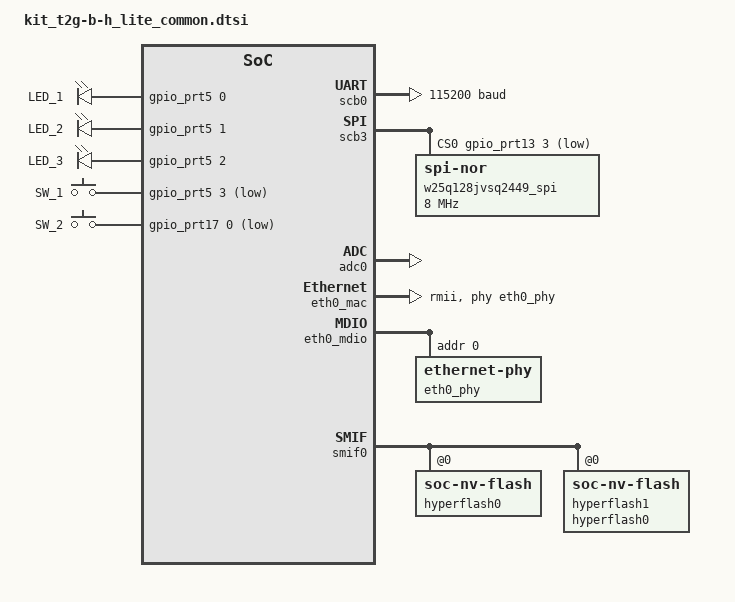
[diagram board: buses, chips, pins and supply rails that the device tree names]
/*
 * Copyright (c) 2026 Infineon Technologies AG
 * SPDX-License-Identifier: Apache-2.0
 */

#include <arm/infineon/cat1c/traveo2-8m/cyt4bf8cds.dtsi>
#include <zephyr/dt-bindings/input/input-event-codes.h>
#include <zephyr/dt-bindings/pinctrl/ifx_cat1-pinctrl.h>
#include <zephyr/dt-bindings/pwm/pwm.h>
#include <arm/infineon/cat1c/traveo2-8m/system_clocks.dtsi>
#include <common/freq.h>
#include <dt-bindings/adc/adc.h>

#include "kit_t2g-b-h_lite_pinctrl.dtsi"

/ {
	aliases {
		uart-0 = &uart0;
		led0 = &user_led1;
		led1 = &user_led2;
		led2 = &user_led3;
		sw0 = &user_bt1;
		sw1 = &user_bt2;
		watchdog0= &watchdog0;
		dma0=&dma0;
		adc0=&adc0;
	};

	leds {
		compatible = "gpio-leds";
		user_led1: user_led1 {
			label = "LED_1";
			gpios = <&gpio_prt5 0 GPIO_ACTIVE_HIGH>;
		};
		user_led2: user_led2 {
			label = "LED_2";
			gpios = <&gpio_prt5 1 GPIO_ACTIVE_HIGH>;
		};
		user_led3: user_led3 {
			label = "LED_3";
			gpios = <&gpio_prt5 2 GPIO_ACTIVE_HIGH>;
		};
	};

	gpio_keys {
		compatible = "gpio-keys";

		user_bt1: user_btn1 {
			label = "SW_1";
			gpios = <&gpio_prt5 3 GPIO_ACTIVE_LOW>;
			zephyr,code = <INPUT_KEY_0>;
		};
		user_bt2: user_btn2 {
			label = "SW_2";
			gpios = <&gpio_prt17 0 GPIO_ACTIVE_LOW>;
			zephyr,code = <INPUT_KEY_1>;
		};
	};

	reserved-memory {
		#address-cells = <1>;
		#size-cells = <1>;
		sram_srom: memory@28000000 {
			reg = <0x28000000 DT_SIZE_K(2)>;
		};
		sram_m0plus: memory@28000800 {
			reg = <0x28000800 DT_SIZE_K(30)>;
		};
		sram_m7_0: memory@28008000 {
			reg = <0x28008000 DT_SIZE_K(224)>;
		};
		sram_m7_1: memory@28040000 {
			reg = <0x28040000 DT_SIZE_K(256)>;
		};
	};
};

&code_flash0 {
	partitions {
		compatible = "fixed-partitions";
		#address-cells = <1>;
		#size-cells = <1>;

		m0p_partition: partition_m0p@0 {
			label = "m0p_partition";
			reg = <0x0 DT_SIZE_K(512)>;
			status = "disabled";
		};
		m7_0_partition: partition@80000 {
			label = "m7_0_partition";
			reg = <0x80000 DT_SIZE_K(2656)>;
		};
		m7_1_partition: partition@318000 {
			label = "m7_1_partition";
			reg = <0x318000 DT_SIZE_K(3168)>;
		};
	};
};

uart0: &scb0 {
	compatible = "infineon,cat1-uart-pdl";
	current-speed = <115200>;
	clocks = <&clk_hf2>;
	ifx,peri-group = <IFX_PERI_GRP_INST_SEL(1, 0)>;
	ifx,peri-clk = <0x011E>;
	ifx,peri-div = <0>; /* 8-bit divider */
	ifx,peri-div-inst = <0>;

	/* UART pins */
	pinctrl-0 = <&p0_0_scb0_uart_rx &p0_1_scb0_uart_tx>;
	pinctrl-names = "default";
};

&pinctrl {
	/omit-if-no-ref/ p12_0_can0_0_tx: p12_0_can0_0_tx {
		pinmux = <DT_CAT1_PINMUX(5, 0, HSIOM_SEL_ACT_13)>;
		drive-push-pull;
	};
	/omit-if-no-ref/ p12_1_can0_0_rx: p12_1_can0_0_rx {
		pinmux = <DT_CAT1_PINMUX(5, 1, HSIOM_SEL_ACT_13)>;
		input-enable;
	};

	/omit-if-no-ref/ p18_0_eth_ref_clk: p18_0_eth_ref_clk {
		pinmux = <DT_CAT1_PINMUX(18, 0, HSIOM_SEL_ACT_12)>;
		input-enable;
	};
	/omit-if-no-ref/ p18_4_eth_txd_0: p18_4_eth_txd_0 {
		pinmux = <DT_CAT1_PINMUX(18, 4, HSIOM_SEL_ACT_12)>;
		drive-push-pull;
	};
	/omit-if-no-ref/ p18_5_eth_txd_1: p18_5_eth_txd_1 {
		pinmux = <DT_CAT1_PINMUX(18, 5, HSIOM_SEL_ACT_12)>;
		drive-push-pull;
	};
	/omit-if-no-ref/ p18_1_eth_tx_en: p18_1_eth_tx_en {
		pinmux = <DT_CAT1_PINMUX(18, 1, HSIOM_SEL_ACT_12)>;
		drive-push-pull;
	};
	/omit-if-no-ref/ p19_0_eth_rxd_0: p19_0_eth_rxd_0 {
		pinmux = <DT_CAT1_PINMUX(19, 0, HSIOM_SEL_ACT_12)>;
		input-enable;
	};
	/omit-if-no-ref/ p19_1_eth_rxd_1: p19_1_eth_rxd_1 {
		pinmux = <DT_CAT1_PINMUX(19, 1, HSIOM_SEL_ACT_12)>;
		input-enable;
	};
	/omit-if-no-ref/ p21_5_eth_rx_ctl: p21_5_eth_rx_ctl {
		pinmux = <DT_CAT1_PINMUX(21, 5, HSIOM_SEL_ACT_12)>;
		input-enable;
	};
	/omit-if-no-ref/ p3_1_eth_mdc: p3_1_eth_mdc {
		pinmux = <DT_CAT1_PINMUX(3, 1, HSIOM_SEL_ACT_12)>;
		drive-push-pull;
	};
	/omit-if-no-ref/ p3_0_eth_mdio: p3_0_eth_mdio {
		pinmux = <DT_CAT1_PINMUX(3, 0, HSIOM_SEL_ACT_12)>;
		drive-push-pull;
		input-enable;
	};
	/omit-if-no-ref/ p6_3_smif0_clk: p6_3_smif0_clk {
		pinmux = <DT_CAT1_PINMUX(6, 3, HSIOM_SEL_ACT_11)>;
		drive-push-pull;
	};
	/omit-if-no-ref/ p6_5_smif0_sel0: p6_5_smif0_sel0 {
		pinmux = <DT_CAT1_PINMUX(6, 5, HSIOM_SEL_ACT_11)>;
		drive-push-pull;
	};
	/omit-if-no-ref/ p7_0_smif0_sel1: p7_0_smif0_sel1 {
		pinmux = <DT_CAT1_PINMUX(7, 0, HSIOM_SEL_ACT_11)>;
		drive-push-pull;
	};
	/omit-if-no-ref/ p7_1_smif0_data0: p7_1_smif0_data0 {
		pinmux = <DT_CAT1_PINMUX(7, 1, HSIOM_SEL_ACT_11)>;
		drive-push-pull;
		input-enable;
	};
	/omit-if-no-ref/ p7_2_smif0_data1: p7_2_smif0_data1 {
		pinmux = <DT_CAT1_PINMUX(7, 2, HSIOM_SEL_ACT_11)>;
		drive-push-pull;
		input-enable;
	};
	/omit-if-no-ref/ p7_3_smif0_data2: p7_3_smif0_data2 {
		pinmux = <DT_CAT1_PINMUX(7, 3, HSIOM_SEL_ACT_11)>;
		drive-push-pull;
		input-enable;
	};
	/omit-if-no-ref/ p7_4_smif0_data3: p7_4_smif0_data3 {
		pinmux = <DT_CAT1_PINMUX(7, 4, HSIOM_SEL_ACT_11)>;
		drive-push-pull;
		input-enable;
	};
	/omit-if-no-ref/ p7_5_smif0_data4: p7_5_smif0_data4 {
		pinmux = <DT_CAT1_PINMUX(7, 5, HSIOM_SEL_ACT_11)>;
		drive-push-pull;
		input-enable;
	};
	/omit-if-no-ref/ p8_0_smif0_data5: p8_0_smif0_data5 {
		pinmux = <DT_CAT1_PINMUX(8, 0, HSIOM_SEL_ACT_11)>;
		drive-push-pull;
		input-enable;
	};
	/omit-if-no-ref/ p8_1_smif0_data6: p8_1_smif0_data6 {
		pinmux = <DT_CAT1_PINMUX(8, 1, HSIOM_SEL_ACT_11)>;
		drive-push-pull;
		input-enable;
	};
	/omit-if-no-ref/ p8_2_smif0_data7: p8_2_smif0_data7 {
		pinmux = <DT_CAT1_PINMUX(8, 2, HSIOM_SEL_ACT_11)>;
		drive-push-pull;
		input-enable;
	};
};

can0: &can0_0 {
	compatible = "infineon,cat1-can";
	clocks = <&clk_hf2>;
	clock-frequency = <40000000>;
	ifx,peri-group = <IFX_PERI_GRP_INST_SEL(1, 0)>;
	ifx,peri-clk = <0x0100>;
	ifx,peri-div = <3>; /* 24-bit divider */
	ifx,peri-div-inst = <0>;

	pinctrl-0 = <&p12_0_can0_0_tx &p12_1_can0_0_rx>;
	pinctrl-names = "default";
};

spi1: &scb3 {
    compatible = "infineon,cat1-spi-pdl";
    status = "okay";

    #address-cells = <1>;
    #size-cells = <0>;

    /* SPI pins */
    pinctrl-0 = <&p13_0_scb3_spi_m_miso &p13_1_scb3_spi_m_mosi &p13_2_scb3_spi_m_clk>;
    pinctrl-names = "default";
    cs-gpios = <&gpio_prt13 3 GPIO_ACTIVE_LOW>;

    ifx,peri-group = <IFX_PERI_GRP_INST_SEL(1, 0)>;
    ifx,peri-clk = <0x0108>;
    ifx,peri-div = <1>; /* 16-bit divider */
    ifx,peri-div-inst = <3>;

	w25q128jvsq2449_spi: spi-nor-flash@0 {
		compatible = "jedec,spi-nor";
		status = "okay";
		reg = <0>;
		spi-max-frequency = <DT_FREQ_M(8)>;
		size = <DT_SIZE_M(128)>; /* 64 Mbits */
		jedec-id = [ef 40 18];
	};
};

&adc0 {
       status = "okay";
       clock-frequency = <26670000>;
       ifx,peri-group = <IFX_PERI_GRP_INST_SEL(1, 0)>;
       ifx,peri-clk = <0x0114>;
       ifx,peri-div = <0>; /* 8-bit divider */
       ifx,peri-div-inst = <2>;
};

&eth0_mac {
	pinctrl-0 = <&p18_4_eth_txd_0 &p18_5_eth_txd_1 &p18_0_eth_ref_clk
	&p18_1_eth_tx_en &p19_0_eth_rxd_0 &p19_1_eth_rxd_1
	&p21_5_eth_rx_ctl>;
	pinctrl-names = "default";
	phy-connection-type = "rmii";

	phy-handle = <&eth0_phy>;
	clock-frequency = <50000000>;
	local-mac-address = [ b0 19 21 67 36 00  ];
};

&eth0_mdio {
	pinctrl-0 = <&p3_1_eth_mdc &p3_0_eth_mdio>;
	pinctrl-names = "default";
	eth0_phy: phy@0 {
		compatible = "ethernet-phy";
		reg = <0x0>;
		status = "okay";
	};
};

&smif0 {
	status = "okay";
	pinctrl-0 = <
	&p6_3_smif0_clk &p6_5_smif0_sel0 &p7_1_smif0_data0
	&p7_2_smif0_data1 &p7_3_smif0_data2 &p7_4_smif0_data3
	&p7_5_smif0_data4 &p8_0_smif0_data5 &p8_1_smif0_data6
	&p8_2_smif0_data7 &p7_0_smif0_sel1
	>;
	pinctrl-names = "default";

	hyperflash0: hyperflash0@0 {
		compatible = "soc-nv-flash";
		reg = <0x00000000 DT_SIZE_M(512)>;
		write-block-size = <256>;
		erase-block-size = <4096>;

		partitions {
			#address-cells = <1>;
			#size-cells = <1>;
			compatible = "fixed-partitions";
		};
	};
	hyperflash1: hyperflash0@1 {
		compatible = "soc-nv-flash";
		reg = <0x00000000 DT_SIZE_M(512)>;
		write-block-size = <256>;
		erase-block-size = <4096>;

		partitions {
			#address-cells = <1>;
			#size-cells = <1>;
			compatible = "fixed-partitions";
		};
	};
};


&gpio_prt0 {
	status = "okay";
};

&gpio_prt1 {
	status = "okay";
};

&gpio_prt2 {
	status = "okay";
};

&gpio_prt3 {
	status = "okay";
};

&gpio_prt5 {
	status = "okay";
};

&gpio_prt6 {
	status = "okay";
};

&gpio_prt7 {
	status = "okay";
};

&gpio_prt8 {
	status = "okay";
};

&gpio_prt12 {
	status = "okay";
};

&gpio_prt13 {
	status = "okay";
};

&gpio_prt14 {
	status = "okay";
};

&clk_eco {
	status = "okay";
	clock-frequency = <16000000>;
};

&pll0 {
	status = "okay";
};
&pll1 {
	status = "okay";
};
&pll2 {
	status = "okay";
};


&clk_hf0 {
	status = "okay";
};
&clk_hf1 {
	status = "okay";
};
&clk_hf2 {
	status = "okay";
};
&clk_hf3 {
	status = "okay";
};
&clk_hf4 {
	status = "okay";
};
&clk_hf5 {
	status = "okay";
};
&clk_hf6 {
	status = "okay";
};
&clk_hf7 {
	status = "disabled";
};
